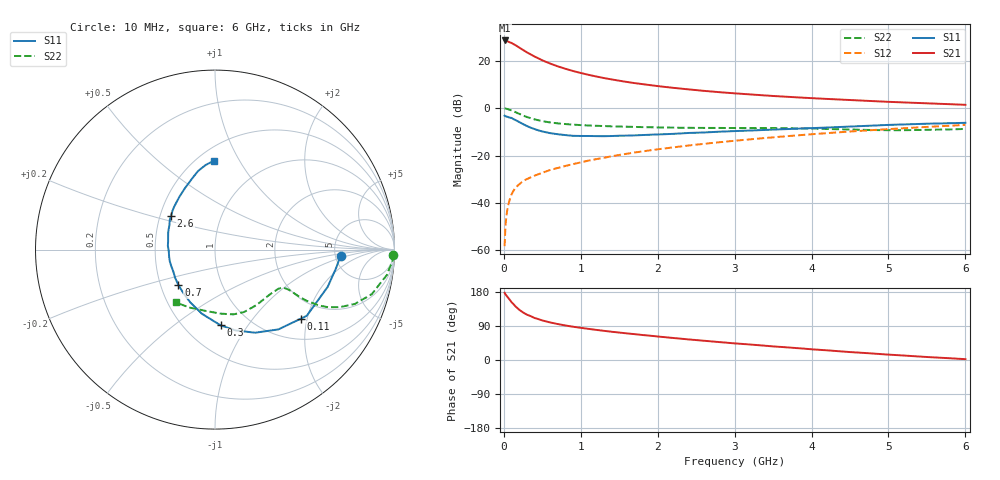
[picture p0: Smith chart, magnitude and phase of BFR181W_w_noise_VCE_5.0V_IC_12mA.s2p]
! Infineon Technologies  Discrete & RF Semiconductors
! BFR181W
! VCE =  5.0 V,  IC =  12 mA
! Common Emitter S-Parameters:  Jan 2017
# GHz  S  MA  R  50
!  f  S11  S21  S12  S22
! GHz  MAG  ANG  MAG  ANG  MAG  ANG  MAG  ANG
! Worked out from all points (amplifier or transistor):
!   77 points, 10 MHz to 6 GHz, reference 50 ohm
!   highest |S21| = 28.8 dB at 10 MHz (marker M1)
!   |S21| within 3 dB of that: start of sweep to 199.1 MHz
!   unconditionally stable (mu >= 1): 895.6 MHz to 2.858 GHz
!   at 130 MHz: K = 0.31, MSG = 30.9 dB, |S12| = -34.7 dB
!   at 2.2 GHz: K = 1.05, MAG = 11.3 dB, |S12| = -16.5 dB
!   at 6 GHz: K = 0.84, MSG = 4.3 dB, |S12| = -7.0 dB
!   lowest NFmin = 1.34 dB at 450 MHz
!   S11 on the Smith chart (normalised r, x): 10 MHz: 5.57, -0.75; 110 MHz: 1.49, -1.84; 300 MHz: 0.74, -0.76; 700 MHz: 0.62, -0.26; 2.6 GHz: 0.57, +0.24; 6 GHz: 0.60, +0.79
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0.01  0.7005 -2.8  27.59 177.4  0.0012 88.2  0.99 -1.6
0.02  0.6824 -8.7  27.1 173.8  0.003 89.0  0.9928 -3.2
0.05  0.6613 -18.3  26.43 165.7  0.0079 78.0  0.9682 -8.4
0.1  0.6304 -35.8  24.43 152.6  0.015 75.5  0.9087 -15.8
0.11  0.6145 -38.7  23.88 150.6  0.0161 73.9  0.8937 -16.8
0.15  0.568 -51.5  22 141.8  0.0208 69.4  0.8365 -21.2
0.2  0.5143 -64.2  19.49 132.6  0.0246 67.2  0.7668 -24.7
0.25  0.4649 -75.7  17.35 125.4  0.0288 64.1  0.707 -27.0
0.3  0.423 -85.8  15.43 119.6  0.0317 61.9  0.6559 -28.3
0.4  0.3646 -101.6  12.56 110.8  0.0375 62.4  0.5844 -29.2
0.5  0.3245 -115.2  10.47 104.4  0.0432 63.4  0.5371 -29.2
0.6  0.2991 -126.3  8.965 99.2  0.0494 63.5  0.5046 -28.9
0.7  0.2836 -136.0  7.802 94.9  0.0546 65.3  0.4819 -28.6
0.9  0.2623 -152.3  6.201 87.8  0.0659 66.7  0.4532 -28.7
1.1  0.2603 -165.5  5.159 82.2  0.0782 68.0  0.4353 -29.2
1.5  0.2636 175.3  3.865 72.4  0.1031 68.8  0.4125 -32.3
2.1  0.2842 154.5  2.851 60.1  0.1424 67.9  0.3931 -40.5
2.6  0.3088 142.3  2.357 50.8  0.1774 66.1  0.3859 -49.4
3.1  0.3349 131.3  2.034 42.4  0.2136 63.5  0.3831 -58.2
4.1  0.3875 114.3  1.619 26.9  0.2909 56.7  0.3706 -76.3
5.1  0.4521 101.1  1.359 13.0  0.3719 48.2  0.345 -101.9
6  0.4948 90.8  1.193 2.2  0.4468 39.6  0.3671 -126.7
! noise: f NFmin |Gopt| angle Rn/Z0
0.45  1.34  0.1  16  0.21
0.9  1.38  0.1  32  0.21
1.9  1.82  0.07  -151  0.21
2.4  2.01  0.08  -113  0.26
